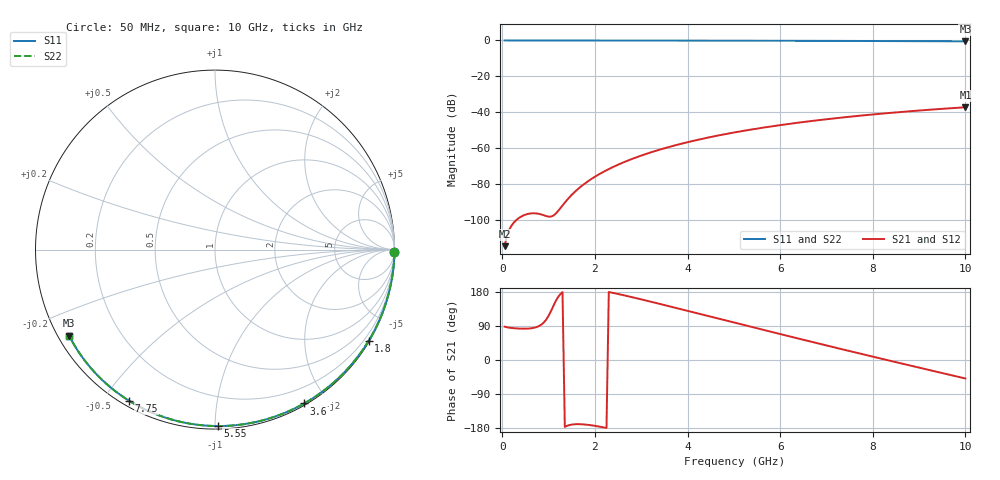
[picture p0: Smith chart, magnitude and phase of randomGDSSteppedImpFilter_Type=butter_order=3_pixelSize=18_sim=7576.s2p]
! freq	dB(S11)	phase(S11)	dB(S12)	phase(S12)
!  dB(S21)	phase(S21)	dB(S22)	phase(S22)
!S-par simulation data
#  GHz  S  DB  R 50
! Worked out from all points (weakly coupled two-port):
!   200 points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, 50 MHz to 10 GHz, reference 50 ohm
!   highest |S21| = -37.16 dB at 10 GHz (marker M1); lowest = -114.4 dB at 50 MHz (marker M2)
!   lowest |S11| = -0.5 dB at 10 GHz (marker M3), VSWR 34.55, Z = 1.55 - j13.6 ohm
!   |S11| at or under -10 dB: nowhere
!   |S22| runs from -0.5 to 0.0 dB; largest |S21 - S12| = 0
!   S11 on the Smith chart (normalised r, x): 50 MHz: open; 1.8 GHz: 0.03, -3.64; 3.6 GHz: 0.02, -1.73; 5.55 GHz: 0.02, -1.01; 7.75 GHz: 0.02, -0.58; 10 GHz: 0.03, -0.27
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0.05  -0.00 -0.9  -114.43 88.0  -114.43 88.0  -0.00 -0.9
0.45  -0.01 -7.8  -97.40 82.6  -97.40 82.6  -0.01 -7.8
0.9  -0.02 -15.5  -97.26 99.5  -97.26 99.5  -0.02 -15.5
1.3  -0.03 -22.3  -91.76 179.2  -91.76 179.2  -0.03 -22.3
1.75  -0.04 -29.9  -80.21 -169.9  -80.21 -169.9  -0.04 -29.9
1.8  -0.04 -30.7  -79.24 -170.4  -79.24 -170.4  -0.04 -30.7
1.95  -0.04 -33.2  -76.61 -172.8  -76.61 -172.8  -0.04 -33.2
2.1  -0.05 -35.7  -74.29 -175.8  -74.29 -175.8  -0.05 -35.7
2.3  -0.05 -39.0  -71.54 179.5  -71.54 179.5  -0.05 -39.0
2.5  -0.05 -42.3  -69.11 174.2  -69.11 174.2  -0.05 -42.3
2.9  -0.06 -48.8  -64.96 162.9  -64.96 162.9  -0.06 -48.8
3.4  -0.08 -56.8  -60.72 148.1  -60.72 148.1  -0.08 -56.8
3.6  -0.08 -59.9  -59.25 142.0  -59.25 142.0  -0.08 -59.9
4.3  -0.10 -70.7  -54.81 120.6  -54.81 120.6  -0.10 -70.7
5.05  -0.13 -81.9  -50.99 97.5  -50.99 97.5  -0.13 -81.9
5.55  -0.15 -89.2  -48.83 82.2  -48.83 82.2  -0.15 -89.2
6.1  -0.17 -97.0  -46.74 65.4  -46.74 65.4  -0.17 -97.0
6.7  -0.21 -105.4  -44.73 47.3  -44.73 47.3  -0.21 -105.4
7.75  -0.28 -119.6  -41.78 16.2  -41.78 16.2  -0.28 -119.6
8.35  -0.33 -127.6  -40.35 -1.4  -40.35 -1.4  -0.33 -127.6
9.2  -0.41 -138.9  -38.58 -25.9  -38.58 -25.9  -0.41 -138.9
10  -0.50 -149.5  -37.16 -48.8  -37.16 -48.8  -0.50 -149.5
